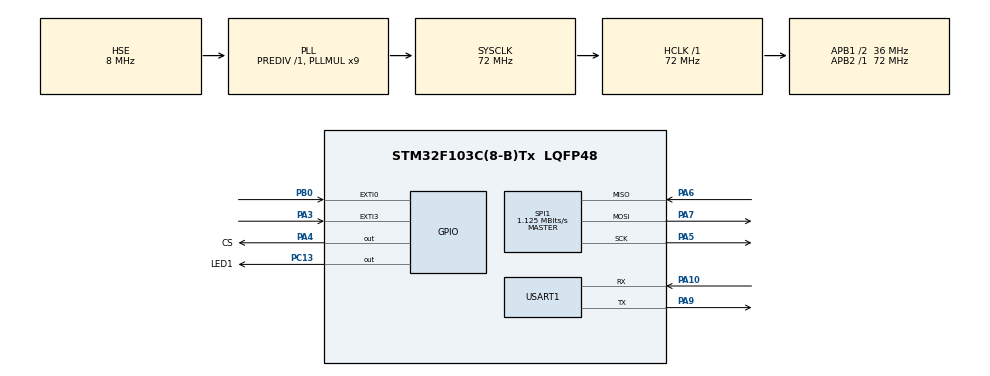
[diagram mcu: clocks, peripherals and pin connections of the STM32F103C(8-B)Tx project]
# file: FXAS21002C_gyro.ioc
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Dma.Request0=USART1_RX
Dma.Request1=SPI1_RX
Dma.SPI1_RX.1.Direction=DMA_PERIPH_TO_MEMORY
Dma.SPI1_RX.1.Instance=DMA1_Channel2
Dma.SPI1_RX.1.MemDataAlignment=DMA_MDATAALIGN_BYTE
Dma.SPI1_RX.1.MemInc=DMA_MINC_ENABLE
Dma.SPI1_RX.1.Mode=DMA_NORMAL
Dma.SPI1_RX.1.PeriphDataAlignment=DMA_PDATAALIGN_BYTE
Dma.SPI1_RX.1.PeriphInc=DMA_PINC_DISABLE
Dma.SPI1_RX.1.Priority=DMA_PRIORITY_HIGH
Dma.USART1_RX.0.Direction=DMA_PERIPH_TO_MEMORY
Dma.USART1_RX.0.Instance=DMA1_Channel5
Dma.USART1_RX.0.MemDataAlignment=DMA_MDATAALIGN_BYTE
Dma.USART1_RX.0.MemInc=DMA_MINC_ENABLE
Dma.USART1_RX.0.Mode=DMA_CIRCULAR
Dma.USART1_RX.0.PeriphDataAlignment=DMA_PDATAALIGN_BYTE
Dma.USART1_RX.0.PeriphInc=DMA_PINC_DISABLE
Dma.USART1_RX.0.Priority=DMA_PRIORITY_LOW
Mcu.Family=STM32F1
Mcu.Name=STM32F103C(8-B)Tx
Mcu.Package=LQFP48
NVIC.DMA1_Channel2_IRQn=true\:0\:0\:false\:false\:true
NVIC.DMA1_Channel5_IRQn=true\:0\:0\:false\:false\:true
NVIC.EXTI0_IRQn=true\:0\:0\:false\:true\:true\:1
NVIC.PriorityGroup=NVIC_PRIORITYGROUP_4
NVIC.SPI1_IRQn=true\:0\:0\:false\:false\:true
NVIC.USART1_IRQn=true\:0\:0\:false\:false\:true
PA10.Mode=Asynchronous
PA10.Signal=USART1_RX
PA3.GPIO_ModeDefaultEXTI=GPIO_MODE_IT_FALLING
PA3.GPIO_PuPd=GPIO_PULLUP
PA3.Signal=GPXTI3
PA4.GPIO_Label=CS
PA4.Signal=GPIO_Output
PA5.Mode=Full_Duplex_Master
PA5.Signal=SPI1_SCK
PA6.Mode=Full_Duplex_Master
PA6.Signal=SPI1_MISO
PA7.Mode=Full_Duplex_Master
PA7.Signal=SPI1_MOSI
PA9.Mode=Asynchronous
PA9.Signal=USART1_TX
PB0.GPIO_ModeDefaultEXTI=GPIO_MODE_IT_RISING
PB0.Signal=GPXTI0
PC13-TAMPER-RTC.GPIO_Label=LED1
PC13-TAMPER-RTC.GPIO_ModeDefaultOutputPP=GPIO_MODE_OUTPUT_PP
PC13-TAMPER-RTC.Signal=GPIO_Output
PD0-OSC_IN.Mode=HSE-External-Oscillator
PD0-OSC_IN.Signal=RCC_OSC_IN
PD1-OSC_OUT.Mode=HSE-External-Oscillator
PD1-OSC_OUT.Signal=RCC_OSC_OUT
ProjectManager.TargetToolchain=MDK-ARM V5
RCC.AHBFreq_Value=72000000
RCC.APB1CLKDivider=RCC_HCLK_DIV2
RCC.APB1Freq_Value=36000000
RCC.APB1TimCLKDivider=1
RCC.APB1TimFreq_Value=36000000
RCC.APB2Freq_Value=72000000
RCC.APB2TimFreq_Value=72000000
RCC.HCLKFreq_Value=72000000
RCC.HSIState=RCC_HSI_ON
RCC.PLLMUL=RCC_PLL_MUL9
RCC.PLLSourceVirtual=RCC_PLLSOURCE_HSE
RCC.SYSCLKFreq_VALUE=72000000
RCC.SYSCLKSource=RCC_SYSCLKSOURCE_PLLCLK
RCC.USBFreq_Value=72000000
SPI1.BaudRatePrescaler=SPI_BAUDRATEPRESCALER_64
SPI1.CalculateBaudRate=1.125 MBits/s
SPI1.Mode=SPI_MODE_MASTER
board=FXAS21002C_gyro

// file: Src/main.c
/**
  ******************************************************************************
  * File Name          : main.c
  * Description        : Main program body
  ******************************************************************************
  *
  * COPYRIGHT(c) 2016 STMicroelectronics
  *
  * Redistribution and use in source and binary forms, with or without modification,
  * are permitted provided that the following conditions are met:
  *   1. Redistributions of source code must retain the above copyright notice,
  *      this list of conditions and the following disclaimer.
  *   2. Redistributions in binary form must reproduce the above copyright notice,
  *      this list of conditions and the following disclaimer in the documentation
  *      and/or other materials provided with the distribution.
  *   3. Neither the name of STMicroelectronics nor the names of its contributors
  *      may be used to endorse or promote products derived from this software
  *      without specific prior written permission.
  *
  * THIS SOFTWARE IS PROVIDED BY THE COPYRIGHT HOLDERS AND CONTRIBUTORS "AS IS"
  * AND ANY EXPRESS OR IMPLIED WARRANTIES, INCLUDING, BUT NOT LIMITED TO, THE
  * IMPLIED WARRANTIES OF MERCHANTABILITY AND FITNESS FOR A PARTICULAR PURPOSE ARE
  * DISCLAIMED. IN NO EVENT SHALL THE COPYRIGHT HOLDER OR CONTRIBUTORS BE LIABLE
  * FOR ANY DIRECT, INDIRECT, INCIDENTAL, SPECIAL, EXEMPLARY, OR CONSEQUENTIAL
  * DAMAGES (INCLUDING, BUT NOT LIMITED TO, PROCUREMENT OF SUBSTITUTE GOODS OR
  * SERVICES; LOSS OF USE, DATA, OR PROFITS; OR BUSINESS INTERRUPTION) HOWEVER
  * CAUSED AND ON ANY THEORY OF LIABILITY, WHETHER IN CONTRACT, STRICT LIABILITY,
  * OR TORT (INCLUDING NEGLIGENCE OR OTHERWISE) ARISING IN ANY WAY OUT OF THE USE
  * OF THIS SOFTWARE, EVEN IF ADVISED OF THE POSSIBILITY OF SUCH DAMAGE.
  *
  ******************************************************************************
  */
#include "stm32f1xx_hal.h"
#include "dma.h"
#include "spi.h"
#include "usart.h"
#include "gpio.h"

/* USER CODE BEGIN Includes */
#define DEBUG_MODE
#include "fxas21002c.h"
/* USER CODE END Includes */

/* USER CODE BEGIN PV */
/* Private variables ---------------------------------------------------------*/
#ifdef __GNUC__
/* With GCC/RAISONANCE, small printf (option LD Linker->Libraries->Small printf
   set to 'Yes') calls __io_putchar() */
#define PUTCHAR_PROTOTYPE int __io_putchar(int ch)
#else
#define PUTCHAR_PROTOTYPE int fputc(int ch, FILE *f)
#endif /* __GNUC__ */

/* USER CODE END PV */

void SystemClock_Config(void);
void MX_NVIC_Init(void);

/* USER CODE BEGIN PFP */
/* Private function prototypes -----------------------------------------------*/
/* USER CODE END PFP */

int main(void)
{

  /* MCU Configuration----------------------------------------------------------*/

  /* Reset of all peripherals, Initializes the Flash interface and the Systick. */
  HAL_Init();

  /* Configure the system clock */
  SystemClock_Config();

  /* Initialize all configured peripherals */
  MX_GPIO_Init();
  MX_DMA_Init();
  MX_SPI1_Init();
  MX_USART1_UART_Init();

  /* Initialize interrupts */
  MX_NVIC_Init();

  /* Infinite loop */
  /* USER CODE BEGIN WHILE */

	/* Blink led */
//	HAL_GPIO_WritePin(GPIOC, LED1_Pin, 0);
//	HAL_Delay(100);
//	HAL_GPIO_WritePin(GPIOC, LED1_Pin, 1);
	SpiRead(FXAS21002C_H_WHO_AM_I, 1);
	GyroInit();
	GyroCalibrate(1, 100);
  while (1)
  {
  /* USER CODE END WHILE */

  /* USER CODE BEGIN 3 */
		//printf here is a bad idea
		//use debugger :P
		GyroGetAngle(0.001);
		HAL_Delay(1);
  }
  /* USER CODE END 3 */

}

/** System Clock Configuration
*/
void SystemClock_Config(void)
{

  RCC_OscInitTypeDef RCC_OscInitStruct;
  RCC_ClkInitTypeDef RCC_ClkInitStruct;

  RCC_OscInitStruct.OscillatorType = RCC_OSCILLATORTYPE_HSE;
  RCC_OscInitStruct.HSEState = RCC_HSE_ON;
  RCC_OscInitStruct.HSEPredivValue = RCC_HSE_PREDIV_DIV1;
  RCC_OscInitStruct.PLL.PLLState = RCC_PLL_ON;
  RCC_OscInitStruct.PLL.PLLSource = RCC_PLLSOURCE_HSE;
  RCC_OscInitStruct.PLL.PLLMUL = RCC_PLL_MUL9;
  HAL_RCC_OscConfig(&RCC_OscInitStruct);

  RCC_ClkInitStruct.ClockType = RCC_CLOCKTYPE_HCLK|RCC_CLOCKTYPE_SYSCLK
                              |RCC_CLOCKTYPE_PCLK1|RCC_CLOCKTYPE_PCLK2;
  RCC_ClkInitStruct.SYSCLKSource = RCC_SYSCLKSOURCE_PLLCLK;
  RCC_ClkInitStruct.AHBCLKDivider = RCC_SYSCLK_DIV1;
  RCC_ClkInitStruct.APB1CLKDivider = RCC_HCLK_DIV2;
  RCC_ClkInitStruct.APB2CLKDivider = RCC_HCLK_DIV1;
  HAL_RCC_ClockConfig(&RCC_ClkInitStruct, FLASH_LATENCY_2);

  HAL_SYSTICK_Config(HAL_RCC_GetHCLKFreq()/1000);

  HAL_SYSTICK_CLKSourceConfig(SYSTICK_CLKSOURCE_HCLK);

  /* SysTick_IRQn interrupt configuration */
  HAL_NVIC_SetPriority(SysTick_IRQn, 0, 0);
}

/** NVIC Configuration
*/
void MX_NVIC_Init(void)
{
  /* EXTI0_IRQn interrupt configuration */
  HAL_NVIC_SetPriority(EXTI0_IRQn, 0, 0);
  HAL_NVIC_EnableIRQ(EXTI0_IRQn);
}
//__attribute__((interrupt)) void EXTI0_IRQHandler(void)
//void HAL_GPIO_EXTI_Callback(uint16_t GPIO_PIN){
//	int test = 1;
//}

/* USER CODE BEGIN 4 */

// Define our function pointer
void (*SysMemBootJump)(void);

// STM32F103C8T6
/* Jump to bootloader from code
	 Best idea is to send via UART command which
	 will call this function and then u can send hex file
	 Flashing without jumpers!
*/

void BootloaderJumpInit(uint8_t status){

	SysMemBootJump = (void (*)(void)) (*((uint32_t *) 0x1FFFF004)); // 0x1FFFF000 "System Memory" start address
	HAL_RCC_DeInit(); // disable clk																// Point the PC to the System Memory reset vector (+4)
	SysTick -> CTRL = 0;
	SysTick -> LOAD = 0;
	SysTick -> VAL = 0;

	__set_PRIMASK(1); // disable interrupts
	__set_MSP(0x200001FC); // set memory stack pointer to first bootloader value

	SysMemBootJump();

	while(1);
}

PUTCHAR_PROTOTYPE
{
  /* Place your implementation of fputc here */
  /* e.g. write a character to the USART1 and Loop until the end of transmission */
  HAL_UART_Transmit(&huart1, (uint8_t *)&ch, 1, 0xFFFF);

  return ch;
}

/* USER CODE END 4 */

/************************ (C) COPYRIGHT STMicroelectronics *****END OF FILE****/
